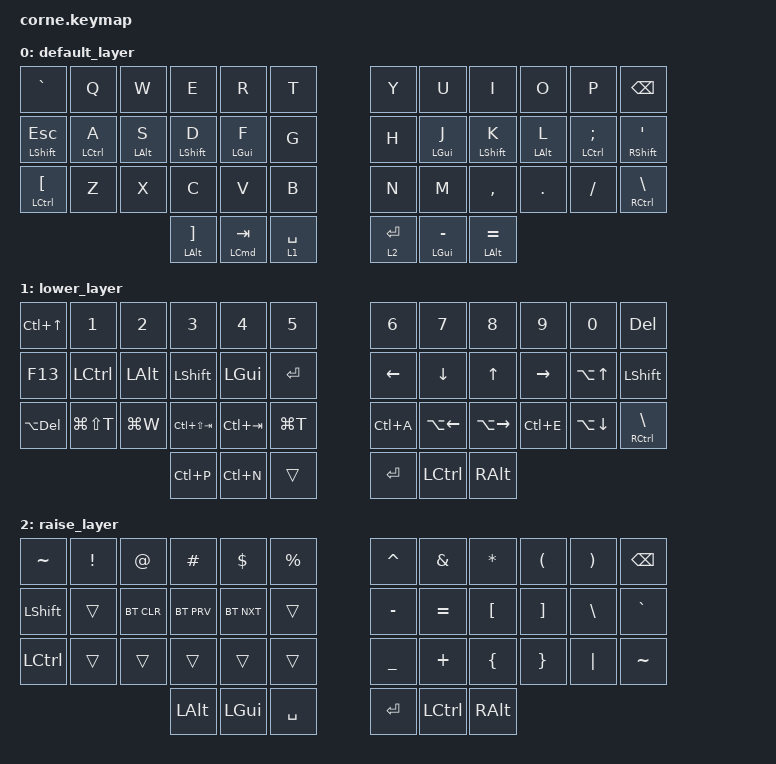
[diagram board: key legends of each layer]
/*
 * Copyright (c) 2020 The ZMK Contributors
 *
 * SPDX-License-Identifier: MIT
 */

#include <behaviors.dtsi>
#include <dt-bindings/zmk/bt.h>
#include <dt-bindings/zmk/keys.h>

/ {
    behaviors {
        bh: balanced_homerow_mods {
            compatible = "zmk,behavior-hold-tap";
            label = "BALANCED_HOMEROW_MODS";
            bindings = <&kp>, <&kp>;

            #binding-cells = <2>;
            tapping-term-ms = <150>;
            quick-tap-ms = <0>;
            flavor = "balanced";
        };

        hold_pref_homerow_mods: hold_pref_homerow_mods {
            compatible = "zmk,behavior-hold-tap";
            label = "HOLD_PREF_HOMEROW_MODS";
            bindings = <&kp>, <&kp>;

            #binding-cells = <2>;
            tapping-term-ms = <200>;
            hold-while-undecided;
            quick-tap-ms = <0>;
        };

        tap_preferred_homerow_mods: tap_preferred_homerow_mods {
            compatible = "zmk,behavior-hold-tap";
            label = "TAP_PREFERRED_HOMEROW_MODS";
            bindings = <&kp>, <&kp>;

            #binding-cells = <2>;
            tapping-term-ms = <150>;
            quick-tap-ms = <0>;
            flavor = "tap-preferred";
            require-prior-idle-ms = <80>;
        };

        left_tap_interrupt: left_tap_interrupt {
            compatible = "zmk,behavior-hold-tap";
            label = "LEFT_TAP_INTERRUPT";
            bindings = <&kp>, <&kp>;

            #binding-cells = <2>;
            tapping-term-ms = <175>;
            quick-tap-ms = <200>;
            flavor = "tap-unless-interrupted";
            hold-trigger-key-positions = <6 7 8 9 10 11 23 22 21 20 19 18 30 32 31 33 34 35>;
            require-prior-idle-ms = <125>;
        };

        right_tap_interrupt: right_tap_interrupt {
            compatible = "zmk,behavior-hold-tap";
            label = "RIGHT_TAP_INTERRUPT";
            bindings = <&kp>, <&kp>;

            #binding-cells = <2>;
            tapping-term-ms = <175>;
            quick-tap-ms = <200>;
            flavor = "tap-unless-interrupted";
            hold-trigger-key-positions = <0 1 2 4 5 12 13 14 15 16 17 24 25 26 27 28 29 3>;
            require-prior-idle-ms = <125>;
        };

        require_prior_idle: require_prior_idle {
            compatible = "zmk,behavior-hold-tap";
            label = "REQUIRE_PRIOR_IDLE";
            bindings = <&kp>, <&kp>;

            #binding-cells = <2>;
            tapping-term-ms = <150>;
            flavor = "tap-preferred";
            quick-tap-ms = <0>;
            require-prior-idle-ms = <80>;
        };
    };

    keymap {
        compatible = "zmk,keymap";

        default_layer {
            // -----------------------------------------------------------------------------------------
            // |  TAB |  Q  |  W  |  E  |  R  |  T  |   |  Y  |  U   |  I  |  O  |  P  | BKSP |
            // | CTRL |  A  |  S  |  D  |  F  |  G  |   |  H  |  J   |  K  |  L  |  ;  |  '   |
            // | SHFT |  Z  |  X  |  C  |  V  |  B  |   |  N  |  M   |  ,  |  .  |  /  | ESC  |
            //                    | GUI | LWR | SPC |   | ENT | RSE  | ALT |

            bindings = <
&kp GRAVE                                   &kp Q                                &kp W                                   &kp E                                       &kp R                                     &kp T          &kp Y      &kp U                                       &kp I                                       &kp O                                   &kp P                                               &kp BSPC
&hold_pref_homerow_mods LSHIFT ESC          &tap_preferred_homerow_mods LCTRL A  &tap_preferred_homerow_mods LEFT_ALT S  &require_prior_idle LEFT_SHIFT D            &tap_preferred_homerow_mods LEFT_GUI F    &kp G          &kp H      &tap_preferred_homerow_mods LEFT_GUI J      &require_prior_idle LEFT_SHIFT K            &tap_preferred_homerow_mods LEFT_ALT L  &tap_preferred_homerow_mods LEFT_CONTROL SEMICOLON  &tap_preferred_homerow_mods RIGHT_SHIFT SQT
&hold_pref_homerow_mods LCTRL LEFT_BRACKET  &kp Z                                &kp X                                   &kp C                                       &kp V                                     &kp B          &kp N      &kp M                                       &kp COMMA                                   &kp DOT                                 &kp FSLH                                            &hold_pref_homerow_mods RCTRL BACKSLASH
                                                                                                                         &hold_pref_homerow_mods LALT RIGHT_BRACKET  &hold_pref_homerow_mods LEFT_COMMAND TAB  &lt 1 SPACE    &lt 2 RET  &tap_preferred_homerow_mods LEFT_GUI MINUS  &tap_preferred_homerow_mods LEFT_ALT EQUAL
            >;
        };

        lower_layer {
            // -----------------------------------------------------------------------------------------
            // |  TAB |  1  |  2  |  3  |  4  |  5  |   |  6  |  7  |  8  |  9  |  0  | BKSP |
            // | BTCLR| BT1 | BT2 | BT3 | BT4 | BT5 |   | LFT | DWN |  UP | RGT |     |      |
            // | SHFT |     |     |     |     |     |   |     |     |     |     |     |      |
            //                    | GUI |     | SPC |   | ENT |     | ALT |

            bindings = <
&kp LC(UP_ARROW)  &kp N1         &kp N2        &kp N3           &kp N4        &kp N5       &kp N6     &kp N7        &kp N8         &kp N9     &kp N0            &kp DEL
&kp F13           &kp LCTRL      &kp LEFT_ALT  &kp LEFT_SHIFT   &kp LEFT_GUI  &kp ENTER    &kp LEFT   &kp DOWN      &kp UP         &kp RIGHT  &kp LA(UP_ARROW)  &kp LEFT_SHIFT
&kp LA(DELETE)    &kp LG(LS(T))  &kp LG(W)     &kp LC(LS(TAB))  &kp LC(TAB)   &kp LG(T)    &kp LC(A)  &kp LA(LEFT)  &kp LA(RIGHT)  &kp LC(E)  &kp LA(DOWN)      &bh RCTRL BACKSLASH
                                               &kp LC(P)        &kp LC(N)     &trans       &kp RET    &kp LCTRL     &kp RIGHT_ALT
            >;
        };

        raise_layer {
            // -----------------------------------------------------------------------------------------
            // |  TAB |  !  |  @  |  #  |  $  |  %  |   |  ^  |  &  |  *  |  (  |  )  | BKSP |
            // | CTRL |     |     |     |     |     |   |  -  |  =  |  [  |  ]  |  \  |  `   |
            // | SHFT |     |     |     |     |     |   |  _  |  +  |  {  |  }  | "|" |  ~   |
            //                    | GUI |     | SPC |   | ENT |     | ALT |

            bindings = <
&kp TILDE       &kp EXCL  &kp AT      &kp HASH      &kp DLLR      &kp PRCNT    &kp CARET  &kp AMPS   &kp ASTRK  &kp LPAR  &kp RPAR  &kp BSPC
&kp LEFT_SHIFT  &trans    &bt BT_CLR  &bt BT_PRV    &bt BT_NXT    &trans       &kp MINUS  &kp EQUAL  &kp LBKT   &kp RBKT  &kp BSLH  &kp GRAVE
&kp LCTRL       &trans    &trans      &trans        &trans        &trans       &kp UNDER  &kp PLUS   &kp LBRC   &kp RBRC  &kp PIPE  &kp TILDE
                                      &kp LEFT_ALT  &kp LEFT_GUI  &kp SPACE    &kp RET    &kp LCTRL  &kp RALT
            >;
        };
    };
};
